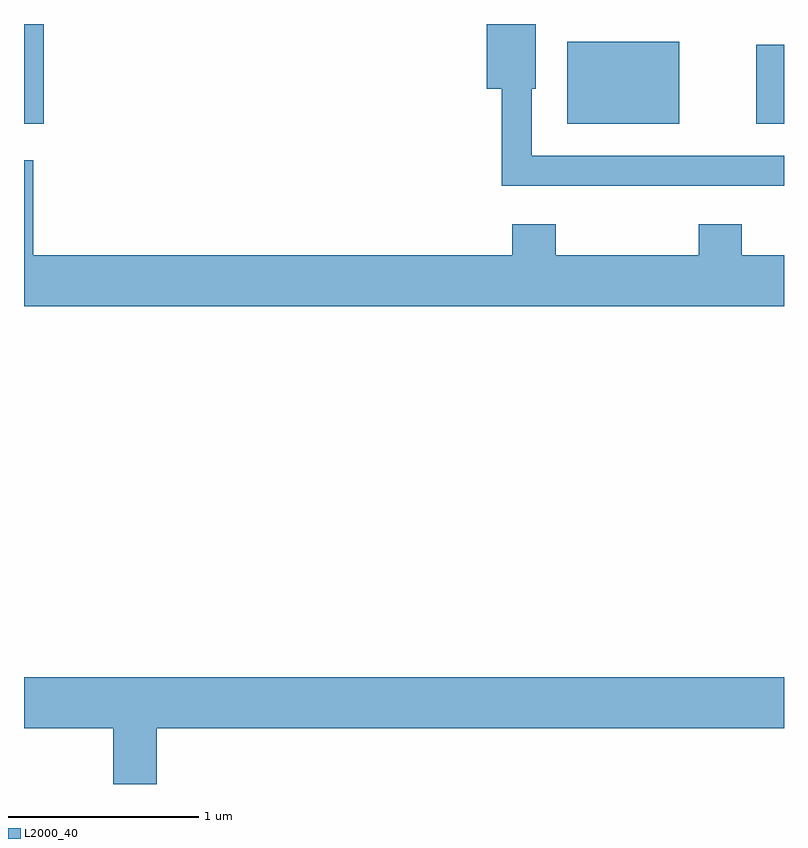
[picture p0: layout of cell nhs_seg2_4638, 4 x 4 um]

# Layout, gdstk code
import gdstk
lib = gdstk.Library(unit=1e-6, precision=1e-09)
def R(c, l, rs):  # rectangles x0, y0, x1, y1
    for r in rs: c.add(gdstk.rectangle(r[:2], r[2:], *l))
def P(c, l, *ps):  # polygons
    for p in ps: c.add(gdstk.Polygon(p, *l))
L2000_40 = (2000, 40)

nhs_seg2_4638 = lib.new_cell('nhs_seg2_4638')
R(nhs_seg2_4638, L2000_40, [(321.611,1049.276,321.714,1049.802), (324.471,1049.276,325.059,1049.709), (325.466,1049.276,325.611,1049.694)])
P(nhs_seg2_4638, L2000_40, [(325.611,1049.109),(324.284,1049.109),(324.284,1049.461),(324.304,1049.461),(324.304,1049.802),(324.046,1049.802),(324.046,1049.461),(324.126,1049.461),(324.126,1048.951),(325.611,1048.951)],
  [(325.611,1048.584),(325.389,1048.584),(325.389,1048.749),(325.161,1048.749),(325.161,1048.584),(324.409,1048.584),(324.409,1048.749),(324.181,1048.749),(324.181,1048.584),(321.659,1048.584),(321.659,1049.084),(321.611,1049.084),(321.611,1048.316),(325.611,1048.316)],
  [(322.309,1046.096),(325.611,1046.096),(325.611,1046.364),(321.611,1046.364),(321.611,1046.096),(322.081,1046.096),(322.081,1045.802),(322.309,1045.802)])

lib.write_gds('nhs_seg2_4638.gds')
